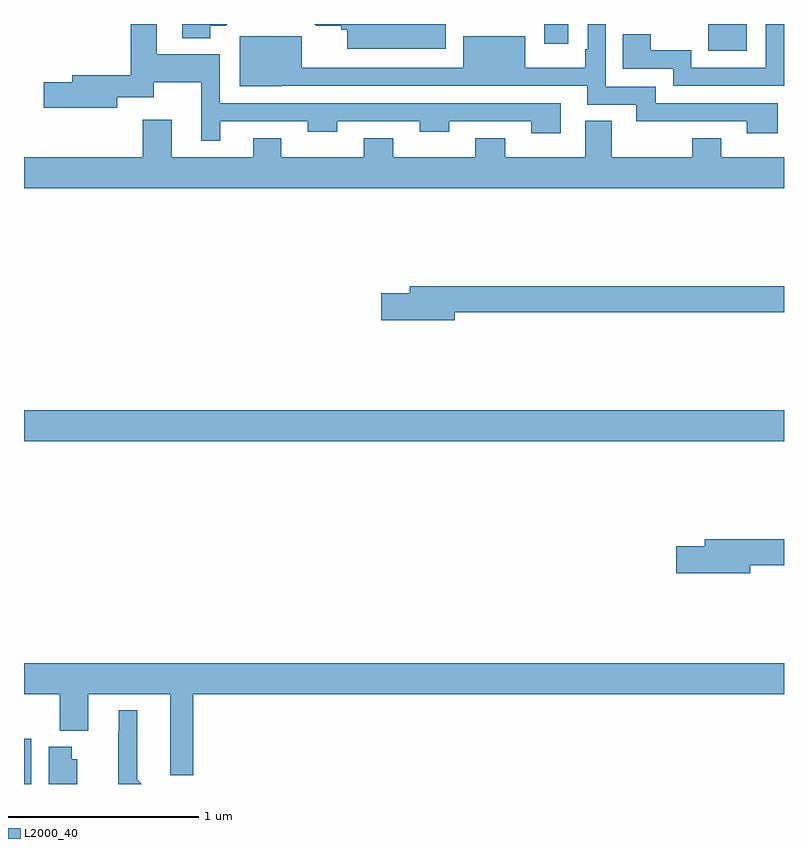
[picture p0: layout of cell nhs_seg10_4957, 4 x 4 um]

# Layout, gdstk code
import gdstk
lib = gdstk.Library(unit=1e-6, precision=1e-09)
def R(c, l, rs):  # rectangles x0, y0, x1, y1
    for r in rs: c.add(gdstk.rectangle(r[:2], r[2:], *l))
def P(c, l, *ps):  # polygons
    for p in ps: c.add(gdstk.Polygon(p, *l))
L2000_40 = (2000, 40)

nhs_seg10_4957 = lib.new_cell('nhs_seg10_4957')
R(nhs_seg10_4957, L2000_40, [(397,1310.5,397.039,1310.737), (397,1312.304,401,1312.468), (400.601,1314.359,400.804,1314.5), (399.737,1314.396,399.865,1314.5)])
P(nhs_seg10_4957, L2000_40, [(398.032,1313.988),(398.494,1313.988),(398.494,1313.933),(398.649,1313.933),(398.649,1313.988),(399.082,1313.988),(399.082,1313.933),(399.237,1313.933),(399.237,1313.988),(399.67,1313.988),(399.67,1313.925),(399.826,1313.925),(399.826,1314.084),(398.031,1314.084),(398.031,1314.34),(397.699,1314.34),(397.699,1314.5),(397.562,1314.5),(397.562,1314.23),(397.253,1314.23),(397.253,1314.194),(397.104,1314.194),(397.104,1314.059),(397.492,1314.059),(397.492,1314.114),(397.684,1314.114),(397.684,1314.194),(397.934,1314.194),(397.934,1313.885),(398.032,1313.885)],
  [(400.966,1314.084),(400.324,1314.084),(400.324,1314.171),(400.062,1314.171),(400.062,1314.5),(399.966,1314.5),(399.966,1314.367),(399.954,1314.367),(399.954,1314.27),(399.637,1314.27),(399.637,1314.436),(399.311,1314.436),(399.311,1314.27),(398.461,1314.27),(398.461,1314.436),(398.135,1314.436),(398.135,1314.173),(398.357,1314.173),(398.357,1314.174),(399.965,1314.174),(399.965,1314.075),(400.223,1314.075),(400.223,1313.987),(400.427,1313.987),(400.427,1313.988),(400.805,1313.988),(400.805,1313.925),(400.966,1313.925)],
  [(399.219,1314.5),(398.527,1314.5),(398.537,1314.49),(398.67,1314.49),(398.67,1314.47),(398.702,1314.47),(398.702,1314.371),(399.219,1314.371)],
  [(397.981,1314.492),(398.061,1314.492),(398.069,1314.5),(397.833,1314.5),(397.833,1314.425),(397.981,1314.425)],
  [(401,1314.499),(400.904,1314.499),(400.904,1314.27),(400.512,1314.27),(400.512,1314.363),(400.299,1314.363),(400.299,1314.445),(400.151,1314.445),(400.151,1314.264),(400.416,1314.264),(400.416,1314.174),(401,1314.174)],
  [(401,1313.8),(400.671,1313.8),(400.671,1313.899),(400.516,1313.899),(400.516,1313.8),(400.093,1313.8),(400.093,1313.99),(399.953,1313.99),(399.953,1313.8),(399.534,1313.8),(399.534,1313.899),(399.376,1313.899),(399.376,1313.8),(398.943,1313.8),(398.943,1313.899),(398.788,1313.899),(398.788,1313.8),(398.355,1313.8),(398.355,1313.899),(398.207,1313.899),(398.207,1313.8),(397.777,1313.8),(397.777,1313.995),(397.625,1313.995),(397.625,1313.8),(397,1313.8),(397,1313.636),(401,1313.636)],
  [(399.268,1312.984),(401,1312.984),(401,1313.12),(399.029,1313.12),(399.029,1313.084),(398.88,1313.084),(398.88,1312.942),(399.268,1312.942)],
  [(400.822,1311.652),(401,1311.652),(401,1311.788),(400.583,1311.788),(400.583,1311.752),(400.434,1311.752),(400.434,1311.61),(400.822,1311.61)],
  [(397.892,1310.972),(401,1310.972),(401,1311.136),(397,1311.136),(397,1310.972),(397.187,1310.972),(397.187,1310.78),(397.339,1310.78),(397.339,1310.972),(397.769,1310.972),(397.769,1310.547),(397.892,1310.547)],
  [(397.597,1310.524),(397.597,1310.887),(397.499,1310.887),(397.499,1310.777),(397.495,1310.777),(397.495,1310.5),(397.621,1310.5)],
  [(397.279,1310.631),(397.252,1310.631),(397.252,1310.695),(397.13,1310.695),(397.13,1310.5),(397.279,1310.5)])

lib.write_gds('nhs_seg10_4957.gds')
